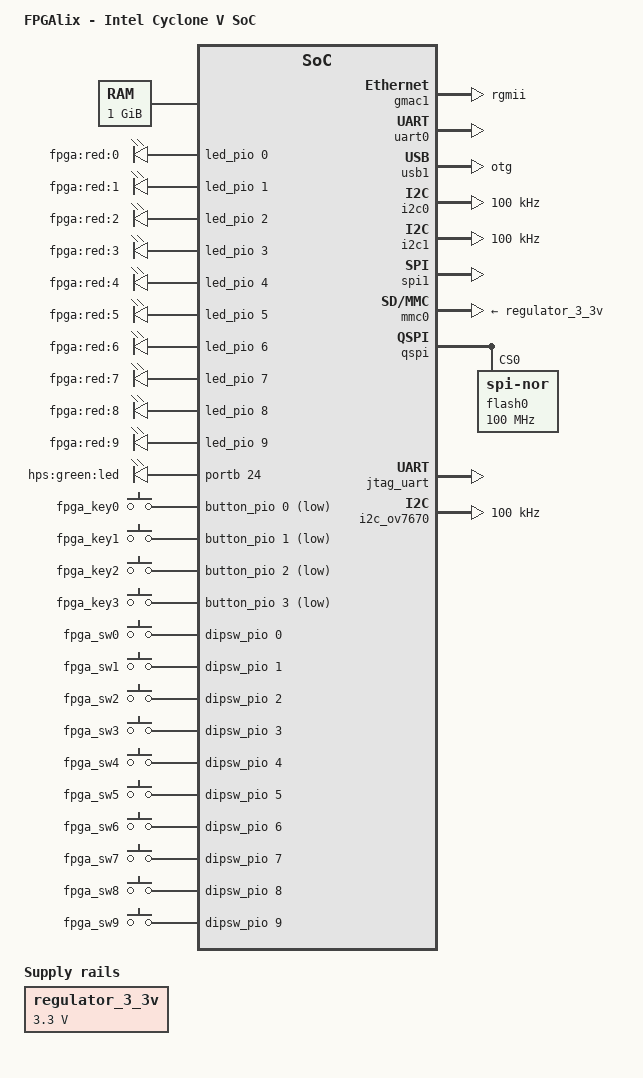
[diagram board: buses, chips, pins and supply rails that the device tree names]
// SPDX-License-Identifier: GPL-2.0
/*
 * FPGAlix - Intel/Altera Cyclone V SoC Board
 * Device: 5CSEMA5F31C6
 *
 * HPS peripherals enabled:
 *   - EMAC1     : RGMII
 *   - USB1      : SDR (USB 2.0 OTG)
 *   - UART0     : console, no flow control
 *   - I2C0/I2C1 : 100 kHz
 *   - SPIM1     : single slave select
 *   - SDMMC     : 4-bit SD/MMC
 *   - QSPI      : 1 slave select
 *   - GPIO0/1/2 : HPS GPIO banks
 *
 * FPGA peripherals (LW HPS-to-FPGA bridge @ 0xFF200000):
 *   - LED PIO      : 10-bit output  @ 0xFF200120
 *   - Button PIO   :  4-bit input   @ 0xFF200110  (falling-edge IRQ, F2H[1] = GIC SPI 41)
 *   - DIP-SW PIO   : 10-bit input   @ 0xFF200100  (any-edge IRQ,    F2H[0] = GIC SPI 40)
 *   - JTAG UART    :                @ 0xFF200138  (IRQ,             F2H[2] = GIC SPI 42)
 *   - System ID    :                @ 0xFF200130
 *   - mSGDMA       : CSR            @ 0xFF202000  (IRQ,             F2H[3] = GIC SPI 43)
 *   - Hex Display Controller       @ 0xFF200140
 *   - OV7670 I2C Master            @ 0xFF200180  (IRQ,             F2H[4] = GIC SPI 44)
 *   - PCLK Reset Controller        @ 0xFF2001C0
 *   - OV7670 Data Interface        @ 0xFF200400  (via MM Clock Crossing Bridge)
 *
 * FPGA peripherals (HPS-to-FPGA bridge @ 0xC0000000):
 *   - On-chip SRAM : 64 KB          @ 0xC1000000
 *
 * HPS GPIO:
 *   - HPS_LED      : GPIO1[24] / pin A24  -> heartbeat
 */

#include "socfpga_cyclone5.dtsi"

/ {
	model = "FPGAlix - Intel Cyclone V SoC";
	compatible = "altr,fpgalix-cyclone5", "altr,socfpga-cyclone5", "altr,socfpga";

	chosen {
		bootargs = "earlyprintk";
		stdout-path = "serial0:115200n8";
	};

	memory@0 {
		name = "memory";
		device_type = "memory";
		reg = <0x00000000 0x40000000>; /* 1 GB DDR3 */
	};

	aliases {
		ethernet0 = &gmac1;
		serial0   = &uart0;
		mmc0      = &mmc0;
		spi0      = &spi1;
	};

	regulator_3_3v: regulator-3v3 {
		compatible = "regulator-fixed";
		regulator-name = "VCC3P3";
		regulator-min-microvolt = <3300000>;
		regulator-max-microvolt = <3300000>;
		regulator-always-on;
	};

	leds {
		compatible = "gpio-leds";

		led0 { label = "fpga:red:0"; gpios = <&led_pio 0 0>; default-state = "off"; };
		led1 { label = "fpga:red:1"; gpios = <&led_pio 1 0>; default-state = "off"; };
		led2 { label = "fpga:red:2"; gpios = <&led_pio 2 0>; default-state = "off"; };
		led3 { label = "fpga:red:3"; gpios = <&led_pio 3 0>; default-state = "off"; };
		led4 { label = "fpga:red:4"; gpios = <&led_pio 4 0>; default-state = "off"; };
		led5 { label = "fpga:red:5"; gpios = <&led_pio 5 0>; default-state = "off"; };
		led6 { label = "fpga:red:6"; gpios = <&led_pio 6 0>; default-state = "off"; };
		led7 { label = "fpga:red:7"; gpios = <&led_pio 7 0>; default-state = "off"; };
		led8 { label = "fpga:red:8"; gpios = <&led_pio 8 0>; default-state = "off"; };
		led9 { label = "fpga:red:9"; gpios = <&led_pio 9 0>; default-state = "off"; };

		hps_led {
			label = "hps:green:led";
			gpios = <&portb 24 0>; /* HPS GPIO1[24] - pin A24 */
			linux,default-trigger = "heartbeat";
		};
	};

	gpio-keys {
		compatible = "gpio-keys";
		#address-cells = <1>;
		#size-cells = <0>;

		button@0 {
			label = "fpga_key0";
			linux,code = <0x100>;
			gpios = <&button_pio 0 1>;
			interrupt-parent = <&button_pio>;
			interrupts = <0>;
			debounce-interval = <50>;
		};
		button@1 {
			label = "fpga_key1";
			linux,code = <0x101>;
			gpios = <&button_pio 1 1>;
			interrupt-parent = <&button_pio>;
			interrupts = <1>;
			debounce-interval = <50>;
		};
		button@2 {
			label = "fpga_key2";
			linux,code = <0x102>;
			gpios = <&button_pio 2 1>;
			interrupt-parent = <&button_pio>;
			interrupts = <2>;
			debounce-interval = <50>;
		};
		button@3 {
			label = "fpga_key3";
			linux,code = <0x103>;
			gpios = <&button_pio 3 1>;
			interrupt-parent = <&button_pio>;
			interrupts = <3>;
			debounce-interval = <50>;
		};

		switch@0  { label = "fpga_sw0";  linux,code = <0x200>; linux,input-type = <5>; gpios = <&dipsw_pio 0 0>; interrupt-parent = <&dipsw_pio>; interrupts = <0>; };
		switch@1  { label = "fpga_sw1";  linux,code = <0x201>; linux,input-type = <5>; gpios = <&dipsw_pio 1 0>; interrupt-parent = <&dipsw_pio>; interrupts = <1>; };
		switch@2  { label = "fpga_sw2";  linux,code = <0x202>; linux,input-type = <5>; gpios = <&dipsw_pio 2 0>; interrupt-parent = <&dipsw_pio>; interrupts = <2>; };
		switch@3  { label = "fpga_sw3";  linux,code = <0x203>; linux,input-type = <5>; gpios = <&dipsw_pio 3 0>; interrupt-parent = <&dipsw_pio>; interrupts = <3>; };
		switch@4  { label = "fpga_sw4";  linux,code = <0x204>; linux,input-type = <5>; gpios = <&dipsw_pio 4 0>; interrupt-parent = <&dipsw_pio>; interrupts = <4>; };
		switch@5  { label = "fpga_sw5";  linux,code = <0x205>; linux,input-type = <5>; gpios = <&dipsw_pio 5 0>; interrupt-parent = <&dipsw_pio>; interrupts = <5>; };
		switch@6  { label = "fpga_sw6";  linux,code = <0x206>; linux,input-type = <5>; gpios = <&dipsw_pio 6 0>; interrupt-parent = <&dipsw_pio>; interrupts = <6>; };
		switch@7  { label = "fpga_sw7";  linux,code = <0x207>; linux,input-type = <5>; gpios = <&dipsw_pio 7 0>; interrupt-parent = <&dipsw_pio>; interrupts = <7>; };
		switch@8  { label = "fpga_sw8";  linux,code = <0x208>; linux,input-type = <5>; gpios = <&dipsw_pio 8 0>; interrupt-parent = <&dipsw_pio>; interrupts = <8>; };
		switch@9  { label = "fpga_sw9";  linux,code = <0x209>; linux,input-type = <5>; gpios = <&dipsw_pio 9 0>; interrupt-parent = <&dipsw_pio>; interrupts = <9>; };
	};
};

/* ====================================================================
 * HPS Peripherals
 * ==================================================================== */

&gmac1 {
	status = "okay";
	phy-mode = "rgmii";
	phy-addr = <0xffffffff>;
	txd0-skew-ps = <0>;   txd1-skew-ps = <0>;   txd2-skew-ps = <0>;   txd3-skew-ps = <0>;
	rxd0-skew-ps = <420>; rxd1-skew-ps = <420>; rxd2-skew-ps = <420>; rxd3-skew-ps = <420>;
	txen-skew-ps = <0>;
	txc-skew-ps  = <1860>;
	rxdv-skew-ps = <420>;
	rxc-skew-ps  = <1680>;
	max-frame-size = <3800>;
};

&uart0 { status = "okay"; };

&usb1 {
	status = "okay";
	dr_mode = "otg";
};

&i2c0 { status = "okay"; clock-frequency = <100000>; };
&i2c1 { status = "okay"; clock-frequency = <100000>; };

&spi1 { status = "okay"; num-cs = <1>; };

&mmc0 {
	vmmc-supply  = <&regulator_3_3v>;
	vqmmc-supply = <&regulator_3_3v>;
	status = "okay";
};

&qspi {
	status = "okay";
	flash0: flash@0 {
		#address-cells = <1>;
		#size-cells    = <1>;
		compatible     = "jedec,spi-nor";
		reg            = <0>;
		spi-max-frequency = <100000000>;
		spi-tx-bus-width  = <4>;
		spi-rx-bus-width  = <4>;
		cdns,read-delay = <4>;
		cdns,tshsl-ns   = <50>;
		cdns,tsd2d-ns   = <50>;
		cdns,tchsh-ns   = <4>;
		cdns,tslch-ns   = <4>;
	};
};

&gpio0 { status = "okay"; };
&gpio1 { status = "okay"; };
&gpio2 { status = "okay"; };

/* ====================================================================
 * FPGA Bridges
 * ==================================================================== */

&fpga_bridge0 { status = "okay"; };
&fpga_bridge1 { status = "okay"; };
&fpga_bridge2 { status = "okay"; };

/* ====================================================================
 * FPGA Region
 * ==================================================================== */

&base_fpga_region {
	fpga-bridges = <&fpga_bridge0>, <&fpga_bridge1>, <&fpga_bridge2>;

	#address-cells = <1>;
	#size-cells    = <1>;
	ranges = <0xff200000 0xff200000 0x00200000>,
	         <0xc0000000 0xc0000000 0x20000000>;

	/* JTAG UART – F2H[2] -> GIC SPI 42 */
	jtag_uart: serial@ff200138 {
		compatible = "altr,juart-1.0";
		reg = <0xff200138 0x8>;
		interrupt-parent = <&intc>;
		interrupts = <0 42 4>;
	};

	sysid: sysid@ff200130 {
		compatible = "altr,sysid-1.0";
		reg = <0xff200130 0x8>;
	};

	/* LED PIO – 10-bit output, no interrupt */
	led_pio: gpio@ff200120 {
		compatible = "altr,pio-1.0";
		reg = <0xff200120 0x10>;
		altr,gpio-bank-width = <10>;
		gpio-controller;
		#gpio-cells = <2>;
	};

	/* Button PIO – F2H[1] -> GIC SPI 41 */
	button_pio: gpio@ff200110 {
		compatible = "altr,pio-1.0";
		reg = <0xff200110 0x10>;
		altr,gpio-bank-width = <4>;
		altr,interrupt-type  = <2>;
		gpio-controller;
		#gpio-cells = <2>;
		interrupt-controller;
		#interrupt-cells = <1>;
		interrupt-parent = <&intc>;
		interrupts = <0 41 4>;
	};

	/* DIP-Switch PIO – F2H[0] -> GIC SPI 40 */
	dipsw_pio: gpio@ff200100 {
		compatible = "altr,pio-1.0";
		reg = <0xff200100 0x10>;
		altr,gpio-bank-width = <10>;
		altr,interrupt-type  = <3>;
		gpio-controller;
		#gpio-cells = <2>;
		interrupt-controller;
		#interrupt-cells = <1>;
		interrupt-parent = <&intc>;
		interrupts = <0 40 4>;
	};

	/* mSGDMA – F2H[3] -> GIC SPI 43 */
	msgdma: dma-controller@ff202000 {
		compatible = "altr,socfpga-msgdma";
		reg = <0xff202000 0x20>,
		      <0xff202020 0x20>,
		      <0xff202040 0x08>;
		reg-names = "csr", "desc", "resp";
		interrupt-parent = <&intc>;
		interrupts = <0 43 4>;
		#dma-cells = <1>;
	};

	/* Hex Display Controller */
	hex_display: hex-display-controller@ff200140 {
		compatible = "fpgalix,hex-display-controller-1.0";
		reg = <0xff200140 0x4>;
	};

	/* OV7670 I2C Master – F2H[4] -> GIC SPI 44 */
	i2c_ov7670: i2c@ff200180 {
		compatible = "altr,softip-i2c-v1.0";
		reg = <0xff200180 0x20>;
		interrupt-parent = <&intc>;
		interrupts = <0 44 4>;
		clock-frequency = <100000>;
		#address-cells = <1>;
		#size-cells = <0>;
	};

	/* PCLK Reset Controller – controls pclk domain reset via software */
	pclk_reset_ctrl: pclk-reset-controller@ff2001c0 {
		compatible = "fpgalix,pclk-reset-controller-1.0";
		reg = <0xff2001c0 0x4>;
	};

	/* OV7670 Data Interface – via MM Clock Crossing Bridge */
	ov7670_if: ov7670-data-interface@ff200400 {
		compatible = "fpgalix,ov7670-data-interface-1.0";
		reg = <0xff200400 0x8>;
	};

	/* On-chip SRAM – 64 KB */
	onchip_sram: sram@c1000000 {
		compatible = "mmio-sram";
		reg = <0xc1000000 0x10000>;
	};
};
